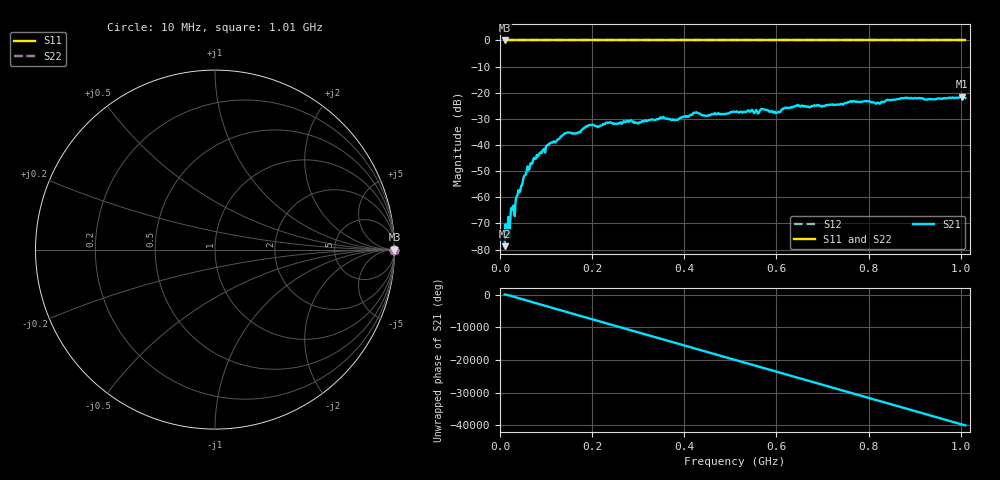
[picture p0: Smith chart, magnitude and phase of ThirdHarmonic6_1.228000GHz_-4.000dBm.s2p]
! 8/16/2025 12:56:15 PM
! C:\ANRITSUVNA\TEMP\TEMP.S2P
! CHANNEL.1
! TR.MEASUREMENT
! RAW.DATA
! RF.CORRECTION.OFF
! AVERAGING.OFF
! IF.BANDWIDTH: 5KHZ
! SWEEPTYPE:  FREQ.SWEEP(Linear)
! Reference Plane Port Info
! PORT:  PORT1  PORT2
! DISTANCE:  0  m  0  m
! TIME:  0  s  0  s
! PHASE.OFFSET:  0  deg.  0  deg.
! LOSS:  0  dB  0  dB
! REF.LOSS:  0  dB  0  dB
! REF.FREQ:  0  Hz  0  Hz
! Power Info
! POWER:  -20  dBm  -20  dBm
! EFF.POWER:  -20  dBm  -20  dBm
! SOURCE.ATTEN:  0  dB  0  dB
! TEST.ATTEN:  0  dB  0  dB
# GHZ S RI R 50.0
! FREQ.GHZ  S11RE  S11IM  S21RE  S21IM  S12RE  S12IM  S22RE  S22IM
!; PortSelection: Port_12
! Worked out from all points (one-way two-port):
!   501 points, 10 MHz to 1.01 GHz, reference 50 ohm
!   highest |S21| = -21.50 dB at 1.002 GHz (marker M1); lowest = -78.7 dB at 10 MHz (marker M2)
!   lowest |S11| = 0.0 dB at 10 MHz (marker M3)
!   |S11| at or under -10 dB: nowhere
!   |S22| runs from 0.0 to 0.0 dB; largest |S21 - S12| = 1.1
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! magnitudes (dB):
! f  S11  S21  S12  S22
! 10 MHz  0.0  -78.7  0.0  0.0
! 14 MHz  0.0  -74.7  0.0  0.0
! 18 MHz  0.0  -67.5  0.0  0.0
! 26 MHz  0.0  -64.9  0.0  0.0
! 56 MHz  0.0  -51.3  0.0  0.0
! 70 MHz  0.0  -47.1  0.0  0.0
! 104 MHz  0.0  -39.9  0.0  0.0
! 142 MHz  0.0  -35.6  0.0  0.0
! 178 MHz  0.0  -34.1  0.0  0.0
! 196 MHz  0.0  -32.3  0.0  0.0
! 344 MHz  0.0  -30.1  0.0  0.0
! 382 MHz  0.0  -30.3  0.0  0.0
! 424 MHz  0.0  -27.6  0.0  0.0
! 446 MHz  0.0  -28.8  0.0  0.0
! 510 MHz  0.0  -27.3  0.0  0.0
! 570 MHz  0.0  -26.3  0.0  0.0
! 602 MHz  0.0  -27.6  0.0  0.0
! 644 MHz  0.0  -25.0  0.0  0.0
! 678 MHz  0.0  -25.1  0.0  0.0
! 844 MHz  0.0  -22.8  0.0  0.0
! 1.002 GHz  0.0  -21.5  0.0  0.0
! 1.01 GHz  0.0  -22.1  0.0  0.0
